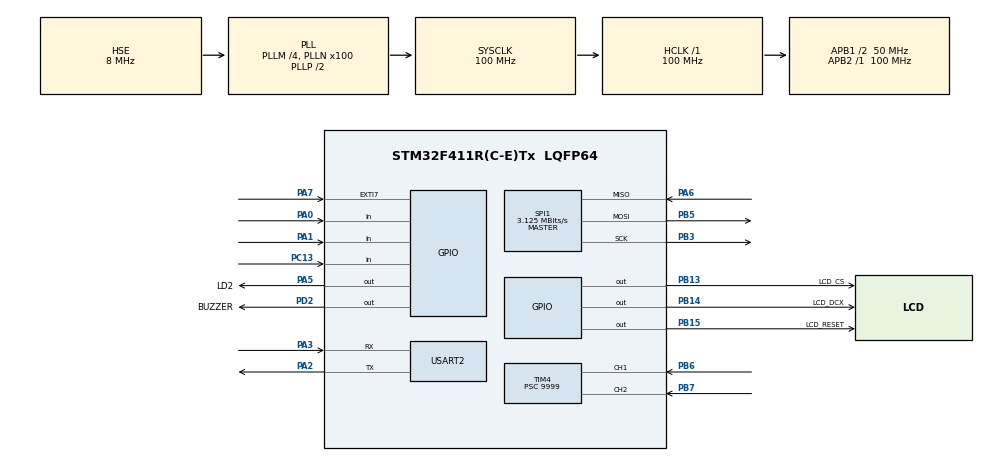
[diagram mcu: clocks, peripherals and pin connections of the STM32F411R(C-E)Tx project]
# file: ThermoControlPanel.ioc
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ADC1.Channel-0\#ChannelRegularConversion=ADC_CHANNEL_VREFINT
ADC1.Channel-1\#ChannelInjectedConversion=ADC_CHANNEL_TEMPSENSOR
ADC1.Channel-2\#ChannelInjectedConversion=ADC_CHANNEL_TEMPSENSOR
ADC1.Channel-3\#ChannelInjectedConversion=ADC_CHANNEL_TEMPSENSOR
ADC1.Channel-4\#ChannelRegularConversion=ADC_CHANNEL_TEMPSENSOR
ADC1.ContinuousConvMode=ENABLE
ADC1.DMAContinuousRequests=ENABLE
ADC1.InjNumberOfConversion=3
ADC1.InjectedOffset-1\#ChannelInjectedConversion=0
ADC1.InjectedOffset-2\#ChannelInjectedConversion=0
ADC1.InjectedOffset-3\#ChannelInjectedConversion=0
ADC1.InjectedRank-1\#ChannelInjectedConversion=1
ADC1.InjectedRank-2\#ChannelInjectedConversion=2
ADC1.InjectedRank-3\#ChannelInjectedConversion=3
ADC1.NbrOfConversion=2
ADC1.NbrOfConversionFlag=1
ADC1.Rank-0\#ChannelRegularConversion=1
ADC1.Rank-4\#ChannelRegularConversion=2
ADC1.SamplingTime-0\#ChannelRegularConversion=ADC_SAMPLETIME_3CYCLES
ADC1.SamplingTime-1\#ChannelInjectedConversion=ADC_SAMPLETIME_480CYCLES
ADC1.SamplingTime-2\#ChannelInjectedConversion=ADC_SAMPLETIME_480CYCLES
ADC1.SamplingTime-3\#ChannelInjectedConversion=ADC_SAMPLETIME_480CYCLES
ADC1.SamplingTime-4\#ChannelRegularConversion=ADC_SAMPLETIME_3CYCLES
ADC1.master=1
Dma.ADC1.1.Direction=DMA_PERIPH_TO_MEMORY
Dma.ADC1.1.FIFOMode=DMA_FIFOMODE_DISABLE
Dma.ADC1.1.Instance=DMA2_Stream0
Dma.ADC1.1.MemDataAlignment=DMA_MDATAALIGN_HALFWORD
Dma.ADC1.1.MemInc=DMA_MINC_ENABLE
Dma.ADC1.1.Mode=DMA_CIRCULAR
Dma.ADC1.1.PeriphDataAlignment=DMA_PDATAALIGN_HALFWORD
Dma.ADC1.1.PeriphInc=DMA_PINC_DISABLE
Dma.ADC1.1.Priority=DMA_PRIORITY_LOW
Dma.Request0=USART2_TX
Dma.Request1=ADC1
Dma.Request2=SPI1_TX
Dma.SPI1_TX.2.Direction=DMA_MEMORY_TO_PERIPH
Dma.SPI1_TX.2.FIFOMode=DMA_FIFOMODE_DISABLE
Dma.SPI1_TX.2.Instance=DMA2_Stream5
Dma.SPI1_TX.2.MemDataAlignment=DMA_MDATAALIGN_HALFWORD
Dma.SPI1_TX.2.MemInc=DMA_MINC_ENABLE
Dma.SPI1_TX.2.Mode=DMA_NORMAL
Dma.SPI1_TX.2.PeriphDataAlignment=DMA_PDATAALIGN_HALFWORD
Dma.SPI1_TX.2.PeriphInc=DMA_PINC_DISABLE
Dma.SPI1_TX.2.Priority=DMA_PRIORITY_LOW
Dma.USART2_TX.0.Direction=DMA_MEMORY_TO_PERIPH
Dma.USART2_TX.0.FIFOMode=DMA_FIFOMODE_DISABLE
Dma.USART2_TX.0.Instance=DMA1_Stream6
Dma.USART2_TX.0.MemDataAlignment=DMA_MDATAALIGN_BYTE
Dma.USART2_TX.0.MemInc=DMA_MINC_ENABLE
Dma.USART2_TX.0.Mode=DMA_CIRCULAR
Dma.USART2_TX.0.PeriphDataAlignment=DMA_PDATAALIGN_BYTE
Dma.USART2_TX.0.PeriphInc=DMA_PINC_DISABLE
Dma.USART2_TX.0.Priority=DMA_PRIORITY_LOW
FREERTOS.Tasks01=defaultTask,24,1024,StartDefaultTask,Default,NULL,Dynamic,NULL,NULL;LVGL_Task,24,2048,StartLVGLTask,Default,NULL,Dynamic,NULL,NULL;myTask03,8,1024,StartTask03,Default,NULL,Dynamic,NULL,NULL
FREERTOS.configMINIMAL_STACK_SIZE=1024
FREERTOS.configTOTAL_HEAP_SIZE=40960
Mcu.Family=STM32F4
Mcu.Name=STM32F411R(C-E)Tx
Mcu.Package=LQFP64
NVIC.DMA1_Stream6_IRQn=true\:5\:0\:false\:false\:true\:true\:false\:true\:true
NVIC.DMA2_Stream0_IRQn=true\:5\:0\:false\:false\:true\:true\:false\:true\:true
NVIC.DMA2_Stream5_IRQn=true\:7\:0\:true\:false\:true\:true\:false\:true\:true
NVIC.PriorityGroup=NVIC_PRIORITYGROUP_4
NVIC.SPI1_IRQn=true\:7\:0\:true\:false\:true\:true\:true\:true\:true
NVIC.TIM4_IRQn=true\:5\:0\:false\:false\:true\:true\:true\:true\:true
NVIC.TIM5_IRQn=true\:15\:0\:true\:false\:true\:false\:false\:true\:true
NVIC.TimeBase=TIM5_IRQn
NVIC.TimeBaseIP=TIM5
NVIC.USART2_IRQn=true\:5\:0\:false\:false\:true\:true\:true\:true\:true
PA0-WKUP.GPIO_PuPd=GPIO_PULLUP
PA0-WKUP.Signal=GPIO_Input
PA1.GPIO_PuPd=GPIO_PULLUP
PA1.Signal=GPIO_Input
PA13.Mode=Serial_Wire
PA13.Signal=SYS_JTMS-SWDIO
PA14.Mode=Serial_Wire
PA14.Signal=SYS_JTCK-SWCLK
PA2.Mode=Asynchronous
PA2.Signal=USART2_TX
PA3.Mode=Asynchronous
PA3.Signal=USART2_RX
PA5.GPIO_Label=LD2
PA5.Signal=GPIO_Output
PA6.Mode=Full_Duplex_Master
PA6.Signal=SPI1_MISO
PA7.GPIO_PuPd=GPIO_NOPULL
PA7.Signal=GPXTI7
PB13.GPIO_Label=LCD_CS
PB13.PinState=GPIO_PIN_SET
PB13.Signal=GPIO_Output
PB14.GPIO_Label=LCD_DCX
PB14.PinState=GPIO_PIN_SET
PB14.Signal=GPIO_Output
PB15.GPIO_Label=LCD_RESET
PB15.PinState=GPIO_PIN_SET
PB15.Signal=GPIO_Output
PB3.Mode=Full_Duplex_Master
PB3.Signal=SPI1_SCK
PB5.Mode=Full_Duplex_Master
PB5.Signal=SPI1_MOSI
PB6.Signal=S_TIM4_CH1
PB7.Signal=S_TIM4_CH2
PC13-ANTI_TAMP.Signal=GPIO_Input
PC14-OSC32_IN.Mode=LSE-External-Clock-Source
PC14-OSC32_IN.Signal=RCC_OSC32_IN
PC15-OSC32_OUT.Mode=LSE-External-Clock-Source
PC15-OSC32_OUT.Signal=RCC_OSC32_OUT
PD2.GPIO_Label=BUZZER
PD2.GPIO_ModeDefaultOutputPP=GPIO_MODE_OUTPUT_PP
PD2.GPIO_PuPd=GPIO_PULLUP
PD2.PinState=GPIO_PIN_RESET
PD2.Signal=GPIO_Output
PH0\ -\ OSC_IN.Mode=HSE-External-Clock-Source
PH0\ -\ OSC_IN.Signal=RCC_OSC_IN
PH1\ -\ OSC_OUT.Mode=HSE-External-Clock-Source
PH1\ -\ OSC_OUT.Signal=RCC_OSC_OUT
ProjectManager.HeapSize=0x4000
ProjectManager.StackSize=0x2000
ProjectManager.TargetToolchain=MDK-ARM V5.32
RCC.48MHZClocksFreq_Value=50000000
RCC.AHBFreq_Value=100000000
RCC.APB1CLKDivider=RCC_HCLK_DIV2
RCC.APB1Freq_Value=50000000
RCC.APB1TimFreq_Value=100000000
RCC.APB2Freq_Value=100000000
RCC.APB2TimFreq_Value=100000000
RCC.CortexFreq_Value=100000000
RCC.HCLKFreq_Value=100000000
RCC.HSE_VALUE=8000000
RCC.HSI_VALUE=16000000
RCC.LSE_VALUE=32768
RCC.PLLM=4
RCC.PLLN=100
RCC.PLLSourceVirtual=RCC_PLLSOURCE_HSE
RCC.RCC_RTC_Clock_Source=RCC_RTCCLKSOURCE_LSE
RCC.RCC_RTC_Clock_SourceVirtual=RCC_RTCCLKSOURCE_LSE
RCC.SYSCLKFreq_VALUE=100000000
RCC.SYSCLKSource=RCC_SYSCLKSOURCE_PLLCLK
RCC.VCOOutputFreq_Value=200000000
SH.S_TIM4_CH1.0=TIM4_CH1,Encoder_Interface
SH.S_TIM4_CH2.0=TIM4_CH2,Encoder_Interface
SPI1.BaudRatePrescaler=SPI_BAUDRATEPRESCALER_32
SPI1.CLKPhase=SPI_PHASE_2EDGE
SPI1.CLKPolarity=SPI_POLARITY_HIGH
SPI1.CalculateBaudRate=3.125 MBits/s
SPI1.Direction=SPI_DIRECTION_2LINES
SPI1.Mode=SPI_MODE_MASTER
SPI1.VirtualType=VM_MASTER
TIM4.EncoderMode=TIM_ENCODERMODE_TI12
TIM4.Period=99
TIM4.Prescaler=9999
USART2.VirtualMode=VM_ASYNC
VP_ADC1_TempSens_Input.Mode=IN-TempSens
VP_ADC1_Vref_Input.Mode=IN-Vrefint
VP_FREERTOS_VS_CMSIS_V2.Mode=CMSIS_V2
VP_RTC_VS_RTC_Activate.Mode=RTC_Enabled
VP_RTC_VS_RTC_Calendar.Mode=RTC_Calendar
VP_SYS_VS_tim5.Mode=TIM5
board=custom

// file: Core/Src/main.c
/* USER CODE BEGIN Header */
/**
  ******************************************************************************
  * @file           : main.c
  * @brief          : Main program body with UART DMA implementation
  ******************************************************************************
  */
/* USER CODE END Header */
#include "main.h"
#include "cmsis_os.h"
#include "adc.h"
#include "dma.h"
#include "rtc.h"
#include "spi.h"
#include "tim.h"
#include "usart.h"
#include "gpio.h"
/* USER CODE BEGIN Includes */
#include <stdio.h>
#include <string.h>
#include "pid.h"
#include "key.h"
#include "app_sensor.h"
#include "app_control.h"
#include "params_store.h"
#include "stdlib.h"
#include "lv_port_lcd_stm32.h"
#include "lvgl.h"
/* USER CODE END Includes */

/* USER CODE BEGIN PV */
uint16_t pwm_value = 0;
int8_t direction = 1;
volatile uint8_t tim4_tick = 0;
uint16_t print_counter = 0; // 用于控制打印频率的计数器
#define PRINT_INTERVAL 300 // 每300次中断打印一次
uint16_t rx;
char cmd_buffer[32];// 存放完整命令的收纳箱
uint8_t cmd_index = 0;
// DMA 相关变量
char dma_msg[64];           // 串口发送缓冲区
extern PID_TypeDef MyPID;
// 总线忙标志（必须加 volatile，否则编译器优化会死机）
volatile uint8_t lcd_bus_busy = 0;
/* USER CODE END PV */

void SystemClock_Config(void);
void MX_FREERTOS_Init(void);
/* USER CODE BEGIN PFP */
void key_scan(void);
void key_process(void);

/* USER CODE END PFP */

/* USER CODE BEGIN 0 */

// LVGL 延时回调适配函数：无返回值，匹配 lv_delay_cb_t 类型
 void lvgl_delay_adapt(uint32_t ms)
{
    osDelay(ms);  // 内部调用 FreeRTOS 的延时函数
}
void Debug_Print(void)// 调试信息打印
{
    if(print_counter >= PRINT_INTERVAL)
    {
        print_counter = 0;

        //printf("VDD=%.3fV Temp=%.2f\r\n", vdd_v, core_temp);
        printf("%.1f, %.1f, %.0f\r\n",
               MyPID.Target, core_temp, MyPID.Output/20.0f); // 输出目标温度、当前温度和 PWM 占空比（0-50）
    }
}

/* USER CODE END 0 */

int main(void)
{

  /* MCU Configuration--------------------------------------------------------*/

  /* Reset of all peripherals, Initializes the Flash interface and the Systick. */
  HAL_Init();

  /* Configure the system clock */
  SystemClock_Config();

  /* Initialize all configured peripherals */
  MX_GPIO_Init();
  MX_DMA_Init();
  MX_USART2_UART_Init();
  setvbuf(stdout, NULL, _IONBF, 0);
  {
    const char *boot_msg = "UART_DIRECT_OK\r\n";
    HAL_UART_Transmit(&huart2, (uint8_t *)boot_msg, (uint16_t)strlen(boot_msg), 1000);
  }
  MX_TIM4_Init();
  MX_ADC1_Init();
  MX_SPI1_Init();
  MX_RTC_Init();
  /* USER CODE BEGIN 2 */
  PID_Init(&MyPID);
  printf("Params Load\r\n");
  //Params_Load(); // 加载参数到 MyPID
  printf("TIM/ADC Start\r\n");
  HAL_StatusTypeDef adc_status = HAL_ADC_Start_DMA(&hadc1, (uint32_t*)adc_values, 2);
  if (adc_status != HAL_OK) {
    uint32_t dma_err = (hadc1.DMA_Handle != NULL) ? hadc1.DMA_Handle->ErrorCode : 0xFFFFFFFFUL;
    printf("ADC DMA Start Failed: st=%d hadc_err=0x%08lX dma_err=0x%08lX\r\n",
           adc_status, (unsigned long)hadc1.ErrorCode, (unsigned long)dma_err);
    Error_Handler();
  }
  printf("ADC DMA Started\r\n");
  //printf("LV_MEM_SIZE = %d\r\n", LV_MEM_SIZE);
  lv_init();
  lv_delay_set_cb(lvgl_delay_adapt);
  lv_tick_set_cb(HAL_GetTick);
  printf("LVGL initialized\r\n");
  HAL_UART_Receive_IT(&huart2,(uint8_t *)&rx,1);
  /* USER CODE END 2 */

  /* Init scheduler */
  osKernelInitialize();  /* Call init function for freertos objects (in cmsis_os2.c) */
  MX_FREERTOS_Init();

  /* Start scheduler */
  osKernelStart();

  /* We should never get here as control is now taken by the scheduler */

  /* Infinite loop */
  while (1)
  {

  }
}

void SystemClock_Config(void)
{
  RCC_OscInitTypeDef RCC_OscInitStruct = {0};
  RCC_ClkInitTypeDef RCC_ClkInitStruct = {0};

  /** Configure the main internal regulator output voltage
  */
  __HAL_RCC_PWR_CLK_ENABLE();
  __HAL_PWR_VOLTAGESCALING_CONFIG(PWR_REGULATOR_VOLTAGE_SCALE1);

  /** Initializes the RCC Oscillators according to the specified parameters
  * in the RCC_OscInitTypeDef structure.
  */
  /* LSE：32.768 kHz 供 RTC；起振失败时关掉 LSE 重试，避免卡死，RTC 侧会改用 LSI */
  RCC_OscInitStruct.OscillatorType = RCC_OSCILLATORTYPE_HSE|RCC_OSCILLATORTYPE_LSE|RCC_OSCILLATORTYPE_LSI;
  RCC_OscInitStruct.HSEState = RCC_HSE_BYPASS;
  RCC_OscInitStruct.LSEState = RCC_LSE_ON;
  RCC_OscInitStruct.LSIState = RCC_LSI_ON;
  RCC_OscInitStruct.PLL.PLLState = RCC_PLL_ON;
  RCC_OscInitStruct.PLL.PLLSource = RCC_PLLSOURCE_HSE;
  RCC_OscInitStruct.PLL.PLLM = 4;
  RCC_OscInitStruct.PLL.PLLN = 100;
  RCC_OscInitStruct.PLL.PLLP = RCC_PLLP_DIV2;
  RCC_OscInitStruct.PLL.PLLQ = 4;
  if (HAL_RCC_OscConfig(&RCC_OscInitStruct) != HAL_OK)
  {
    RCC_OscInitStruct.OscillatorType = RCC_OSCILLATORTYPE_HSE|RCC_OSCILLATORTYPE_LSI;
    RCC_OscInitStruct.LSEState = RCC_LSE_OFF;
    if (HAL_RCC_OscConfig(&RCC_OscInitStruct) != HAL_OK)
    {
      /* 无外部 HSE 时使用 HSI+PLL；同样先尝试 LSE，失败则仅用 LSI */
      RCC_OscInitStruct.OscillatorType = RCC_OSCILLATORTYPE_HSI|RCC_OSCILLATORTYPE_LSE|RCC_OSCILLATORTYPE_LSI;
      RCC_OscInitStruct.HSEState = RCC_HSE_OFF;
      RCC_OscInitStruct.HSIState = RCC_HSI_ON;
      RCC_OscInitStruct.HSICalibrationValue = RCC_HSICALIBRATION_DEFAULT;
      RCC_OscInitStruct.LSEState = RCC_LSE_ON;
      RCC_OscInitStruct.LSIState = RCC_LSI_ON;
      RCC_OscInitStruct.PLL.PLLState = RCC_PLL_ON;
      RCC_OscInitStruct.PLL.PLLSource = RCC_PLLSOURCE_HSI;
      RCC_OscInitStruct.PLL.PLLM = 16;
      RCC_OscInitStruct.PLL.PLLN = 100;
      RCC_OscInitStruct.PLL.PLLP = RCC_PLLP_DIV2;
      RCC_OscInitStruct.PLL.PLLQ = 4;
      if (HAL_RCC_OscConfig(&RCC_OscInitStruct) != HAL_OK)
      {
        RCC_OscInitStruct.OscillatorType = RCC_OSCILLATORTYPE_HSI|RCC_OSCILLATORTYPE_LSI;
        RCC_OscInitStruct.LSEState = RCC_LSE_OFF;
        if (HAL_RCC_OscConfig(&RCC_OscInitStruct) != HAL_OK)
        {
          Error_Handler();
        }
      }
    }
  }

  /** Initializes the CPU, AHB and APB buses clocks
  */
  RCC_ClkInitStruct.ClockType = RCC_CLOCKTYPE_HCLK|RCC_CLOCKTYPE_SYSCLK
                              |RCC_CLOCKTYPE_PCLK1|RCC_CLOCKTYPE_PCLK2;
  RCC_ClkInitStruct.SYSCLKSource = RCC_SYSCLKSOURCE_PLLCLK;
  RCC_ClkInitStruct.AHBCLKDivider = RCC_SYSCLK_DIV1;
  RCC_ClkInitStruct.APB1CLKDivider = RCC_HCLK_DIV2;
  RCC_ClkInitStruct.APB2CLKDivider = RCC_HCLK_DIV1;

  if (HAL_RCC_ClockConfig(&RCC_ClkInitStruct, FLASH_LATENCY_3) != HAL_OK)
  {
    Error_Handler();
  }
}

/* USER CODE BEGIN 4 */
int fputc(int ch, FILE *f) {
    /* 请确认这里的 UART 实例是你实际连接到 PC 的串口。
       例如 Nucleo/Discovery 板通常使用 USART2 (PA2/PA3)，
       如果你使用的是 USART1/USART3 等，请把 &huart2 替换为对应的句柄。 */
    HAL_UART_Transmit(&huart2, (uint8_t *)&ch, 1, HAL_MAX_DELAY);
    return ch;
}

void HAL_TIM_PeriodElapsedCallback(TIM_HandleTypeDef *htim)
{
    if (htim->Instance == TIM4)
    {
        tim4_tick = 1;
    }
      /* 1. timebase) */
  if (htim->Instance == TIM5)
  {
    HAL_IncTick();
  }
}
// 如果你想在发送完成后做点什么，可以取消下面函数的注�?

// void HAL_UART_RxCpltCallback(UART_HandleTypeDef *huart)
// {
//     if(huart->Instance == USART2)
//     {
//         if(rx=='+')
//         {MyPID.Target++;}
//         else if (rx=='-')
//         { MyPID.Target--; }
//         else if (rx=='S')
//         {
//             Params_Save(); // 接收到 'S' 时保存参数到 Flash
//             printf(">> Quick Saved!\r\n");
//         }
//         else if (rx == 'X')
//         {printf(">> Target: %.1f, Kp: %.2f, Ki: %.2f, Kd: %.2f\r\n", MyPID.Target, MyPID.Kp, MyPID.Ki, MyPID.Kd);}
//         // B. 处理复杂指令 (如 P10.5, T50, 需要回车触发)
//         else if (rx == '\n' || rx == '\r')
//         {
//             if (cmd_index > 0)
//             {
//                 cmd_buffer[cmd_index] = '\0'; // 闭合字符串

//                 if (cmd_buffer[0] == 'P') {
//                     MyPID.Kp = atof(&cmd_buffer[1]);
//                     printf(">> Kp: %.2f\r\n", MyPID.Kp);
//                 }
//                 else if (cmd_buffer[0] == 'I') {
//                     MyPID.Ki = atof(&cmd_buffer[1]);
//                     printf(">> Ki: %.2f\r\n", MyPID.Ki);
//                 }
//                 else if (cmd_buffer[0] == 'T') {
//                     MyPID.Target = atof(&cmd_buffer[1]);
//                     printf(">> Target: %.1f\r\n", MyPID.Target);
//                 }
//                 else if (strcmp(cmd_buffer, "SAVE") == 0) {
//                     Params_Save();
//                     printf(">> Full Params Saved!\r\n");
//                 }
//                else if (cmd_buffer[0] == 'D') {
//                     MyPID.Kd = atof(&cmd_buffer[1]);
//                     printf(">> Kd: %.2f\r\n", MyPID.Kd);
//                 }
//                 cmd_index = 0; // 重置缓冲区
//             }
//         }
//         // C. 如果不是以上字符，也不是回车，就存入缓冲区待命
//         else
//         {
//             if (cmd_index < 31) {
//                 cmd_buffer[cmd_index++] = (char)rx;
//             }
//         }

//         // DMA 接收完成后的回调，可以在这里翻转一?LED 状?
//         HAL_UART_Receive_IT(&huart2,(uint8_t *)&rx,1); // 继续接收下一个字节

// }
//     }

/* USER CODE END 4 */

void Error_Handler(void)
{
  __disable_irq();
  while (1)
  {
  }
}

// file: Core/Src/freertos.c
/* USER CODE BEGIN Header */
/**
  ******************************************************************************
  * File Name          : freertos.c
  * Description        : Code for freertos applications
  ******************************************************************************
  * @attention
  *
  * Copyright (c) 2026 STMicroelectronics.
  * All rights reserved.
  *
  * This software is licensed under terms that can be found in the LICENSE file
  * in the root directory of this software component.
  * If no LICENSE file comes with this software, it is provided AS-IS.
  *
  ******************************************************************************
  */
/* USER CODE END Header */

#include "FreeRTOS.h"
#include "task.h"
#include "main.h"
#include "cmsis_os.h"

/* USER CODE BEGIN Includes */
#include "app_tasks.h"
/* USER CODE END Includes */

void MX_FREERTOS_Init(void); /* (MISRA C 2004 rule 8.1) */

void MX_FREERTOS_Init(void)
{
  /* USER CODE BEGIN Init */
  AppTasks_Init();
  /* USER CODE END Init */

  /* USER CODE BEGIN RTOS_THREADS */
  /* Task creation moved to app_tasks.c */
  /* USER CODE END RTOS_THREADS */

}
